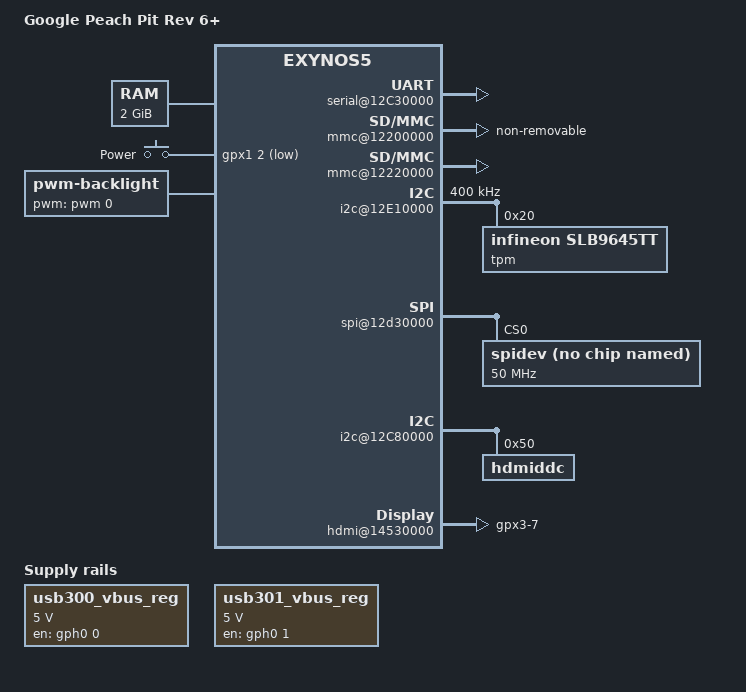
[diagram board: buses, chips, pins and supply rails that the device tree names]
/*
 * Google Peach Pit Rev 6+ board device tree source
 *
 * Copyright (c) 2014 Google, Inc
 *
 * This program is free software; you can redistribute it and/or modify
 * it under the terms of the GNU General Public License version 2 as
 * published by the Free Software Foundation.
 */

/dts-v1/;
#include <dt-bindings/input/input.h>
#include <dt-bindings/gpio/gpio.h>
#include "exynos5420.dtsi"

/ {
	model = "Google Peach Pit Rev 6+";

	compatible = "google,pit-rev16",
		"google,pit-rev15", "google,pit-rev14",
		"google,pit-rev13", "google,pit-rev12",
		"google,pit-rev11", "google,pit-rev10",
		"google,pit-rev9", "google,pit-rev8",
		"google,pit-rev7", "google,pit-rev6",
		"google,pit", "google,peach","samsung,exynos5420",
		"samsung,exynos5";

	memory {
		reg = <0x20000000 0x80000000>;
	};

	fixed-rate-clocks {
		oscclk {
			compatible = "samsung,exynos5420-oscclk";
			clock-frequency = <24000000>;
		};
	};

	pinctrl@13400000 {
		tpm_irq: tpm-irq {
			samsung,pins = "gpx1-0";
			samsung,pin-function = <0>;
			samsung,pin-pud = <0>;
			samsung,pin-drv = <0>;
		};

		power_key_irq: power-key-irq {
			samsung,pins = "gpx1-2";
			samsung,pin-function = <0>;
			samsung,pin-pud = <0>;
			samsung,pin-drv = <0>;
		};

		hdmi_hpd_irq: hdmi-hpd-irq {
		        samsung,pins = "gpx3-7";
			samsung,pin-function = <0>;
			samsung,pin-pud = <1>;
			samsung,pin-drv = <0>;
		};
	};

	pinctrl@14010000 {
		spi_flash_cs: spi-flash-cs {
			samsung,pins = "gpa2-5";
			samsung,pin-function = <1>;
			samsung,pin-pud = <0>;
			samsung,pin-drv = <3>;
		};

		backlight_pwm: backlight-pwm {
			samsung,pins = "gpb2-0";
			samsung,pin-function = <2>;
			samsung,pin-pud = <0>;
			samsung,pin-drv = <0>;
		};

		usb300_vbus_en: usb300-vbus-en {
			samsung,pins = "gph0-0";
			samsung,pin-function = <1>;
			samsung,pin-pud = <0>;
			samsung,pin-drv = <0>;
		};

		usb301_vbus_en: usb301-vbus-en {
			samsung,pins = "gph0-1";
			samsung,pin-function = <1>;
			samsung,pin-pud = <0>;
			samsung,pin-drv = <0>;
		};
	};

	gpio-keys {
		compatible = "gpio-keys";

		pinctrl-names = "default";
		pinctrl-0 = <&power_key_irq>;

		power {
			label = "Power";
			gpios = <&gpx1 2 GPIO_ACTIVE_LOW>;
			linux,code = <KEY_POWER>;
			gpio-key,wakeup;
		};
	};

	rtc@101E0000 {
		status = "okay";
	};

	serial@12C30000 {
		status = "okay";
	};

	usb300_vbus_reg: regulator-usb300 {
		compatible = "regulator-fixed";
		regulator-name = "P5.0V_USB3CON0";
		regulator-min-microvolt = <5000000>;
		regulator-max-microvolt = <5000000>;
		gpio = <&gph0 0 0>;
		pinctrl-names = "default";
		pinctrl-0 = <&usb300_vbus_en>;
		enable-active-high;
	};

	usb301_vbus_reg: regulator-usb301 {
		compatible = "regulator-fixed";
		regulator-name = "P5.0V_USB3CON1";
		regulator-min-microvolt = <5000000>;
		regulator-max-microvolt = <5000000>;
		gpio = <&gph0 1 0>;
		pinctrl-names = "default";
		pinctrl-0 = <&usb301_vbus_en>;
		enable-active-high;
	};

	phy@12100000 {
		vbus-supply = <&usb300_vbus_reg>;
	};

	phy@12500000 {
		vbus-supply = <&usb301_vbus_reg>;
	};

	mmc@12200000 {
		status = "okay";
		num-slots = <1>;
		broken-cd;
		caps2-mmc-hs200-1_8v;
		supports-highspeed;
		non-removable;
		card-detect-delay = <200>;
		clock-frequency = <400000000>;
		samsung,dw-mshc-ciu-div = <3>;
		samsung,dw-mshc-sdr-timing = <0 4>;
		samsung,dw-mshc-ddr-timing = <0 2>;
		pinctrl-names = "default";
		pinctrl-0 = <&sd0_clk &sd0_cmd &sd0_bus4 &sd0_bus8>;

		slot@0 {
			reg = <0>;
			bus-width = <8>;
		};
	};

	mmc@12220000 {
		status = "okay";
		num-slots = <1>;
		supports-highspeed;
		card-detect-delay = <200>;
		clock-frequency = <400000000>;
		samsung,dw-mshc-ciu-div = <3>;
		samsung,dw-mshc-sdr-timing = <2 3>;
		samsung,dw-mshc-ddr-timing = <1 2>;
		pinctrl-names = "default";
		pinctrl-0 = <&sd2_clk &sd2_cmd &sd2_cd &sd2_bus4>;

		slot@0 {
			reg = <0>;
			bus-width = <4>;
		};
	};

	i2c@12E10000 {
		status = "okay";
		clock-frequency = <400000>;

		tpm@20 {
			/* Unused irq; but still need to configure the pins */
			pinctrl-names = "default";
			pinctrl-0 = <&tpm_irq>;

			compatible = "infineon,slb9645tt";
			reg = <0x20>;
		};
	};

	spi@12d30000 {
		status = "okay";
		samsung,spi-src-clk = <0>;
		num-cs = <1>;

		spidev@0 {
			compatible = "spidev";
			reg = <0>;
			spi-max-frequency = <50000000>;
			pinctrl-names = "default";
			pinctrl-0 = <&spi_flash_cs>;

			controller-data {
				cs-gpio = <&gpa2 5 0>;
				samsung,spi-feedback-delay = <2>;
			};
		};
	};

	backlight {
		compatible = "pwm-backlight";
		pwms = <&pwm 0 1000000 0>;
		brightness-levels = <0 100 500 1000 1500 2000 2500 2800>;
		default-brightness-level = <7>;
		pinctrl-0 = <&backlight_pwm>;
		pinctrl-names = "default";
	};

	/*
	 * Use longest HW watchdog in SoC (32 seconds) since the hardware
	 * watchdog provides no debugging information (compared to soft/hard
	 * lockup detectors) and so should be last resort.
	 */
	watchdog@101D0000 {
		timeout-sec = <32>;
	};

	i2c@12C80000 {
		samsung,i2c-sda-delay = <100>;
		samsung,i2c-max-bus-freq = <66000>;
		samsung,i2c-slave-addr = <0x50>;
		status = "okay";

		hdmiddc@50 {
			reg = <0x50>;
		};
	};

	hdmi@14530000 {
		hpd-gpio = <&gpx3 7 2>;
		pinctrl-names = "default";
		pinctrl-0 = <&hdmi_hpd_irq>;
		ddc = <&i2c_2>;
		status = "okay";
	};
};
